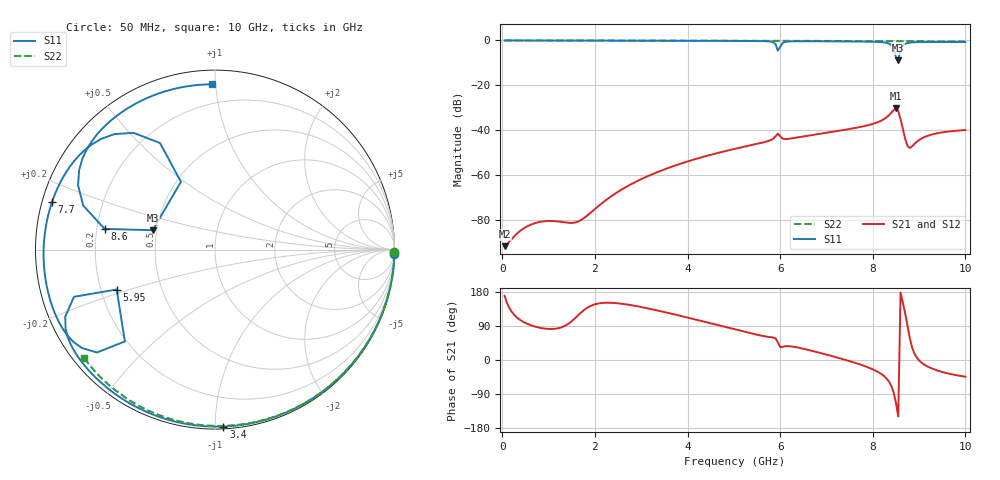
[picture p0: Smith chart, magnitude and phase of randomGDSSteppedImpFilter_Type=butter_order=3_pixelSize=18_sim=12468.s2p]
! freq	dB(S11)	phase(S11)	dB(S12)	phase(S12)
!  dB(S21)	phase(S21)	dB(S22)	phase(S22)
!S-par simulation data
#  GHz  S  DB  R 50
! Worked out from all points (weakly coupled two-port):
!   200 points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, 50 MHz to 10 GHz, reference 50 ohm
!   highest |S21| = -30.18 dB at 8.5 GHz (marker M1); lowest = -91.5 dB at 50 MHz (marker M2)
!   lowest |S11| = -8.8 dB at 8.55 GHz (marker M3), VSWR 2.14, Z = 23.7 + j5.9 ohm
!   |S11| at or under -10 dB: nowhere
!   |S22| runs from -0.5 to 0.0 dB; largest |S21 - S12| = 0
!   S11 on the Smith chart (normalised r, x): 50 MHz: 0, -85; 3.4 GHz: 0.01, -1.05; 5.95 GHz: 0.27, -0.18; 7.7 GHz: 0.03, +0.14; 8.6 GHz: 0.23, +0.09; 10 GHz: 0.08, +0.98
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0.05  -0.00 -1.3  -91.50 169.3  -91.50 169.3  -0.00 -0.8
1.75  -0.06 -46.0  -79.21 130.3  -79.21 130.3  -0.04 -27.9
2.55  -0.08 -66.3  -66.65 148.9  -66.65 148.9  -0.05 -40.3
3.4  -0.12 -87.3  -58.14 129.3  -58.14 129.3  -0.07 -53.1
5.05  -0.20 -127.7  -48.07 80.0  -48.07 80.0  -0.12 -76.8
5.85  -0.78 -155.9  -43.67 59.3  -43.67 59.3  -0.15 -87.7
5.9  -1.64 -161.5  -42.67 57.2  -42.67 57.2  -0.15 -88.3
5.95  -4.57 -157.9  -41.45 46.9  -41.45 46.9  -0.15 -89.0
6  -2.89 -134.4  -42.56 34.0  -42.56 34.0  -0.16 -89.7
6.05  -1.18 -139.0  -43.66 34.5  -43.66 34.5  -0.16 -90.3
6.25  -0.40 -151.5  -43.55 35.8  -43.55 35.8  -0.17 -93.0
6.7  -0.36 -165.8  -42.02 23.8  -42.02 23.8  -0.19 -98.9
7.7  -0.48 163.8  -38.61 -10.7  -38.61 -10.7  -0.25 -111.6
8.35  -1.38 131.1  -33.27 -57.1  -33.27 -57.1  -0.30 -119.8
8.45  -3.51 117.3  -30.96 -85.4  -30.96 -85.4  -0.32 -121.1
8.5  -7.49 116.7  -30.18 -112.7  -30.18 -112.7  -0.33 -121.7
8.55  -8.78 162.8  -31.40 -149.1  -31.40 -149.1  -0.34 -122.3
8.6  -4.08 169.4  -35.00 177.7  -35.00 177.7  -0.34 -122.9
8.7  -1.48 154.8  -43.76 123.7  -43.76 123.7  -0.35 -124.1
8.8  -0.96 145.6  -47.83 57.2  -47.83 57.2  -0.35 -125.3
9.2  -0.67 124.5  -42.29 -18.2  -42.29 -18.2  -0.39 -130.3
10  -0.71 91.1  -39.85 -44.1  -39.85 -44.1  -0.48 -140.3
